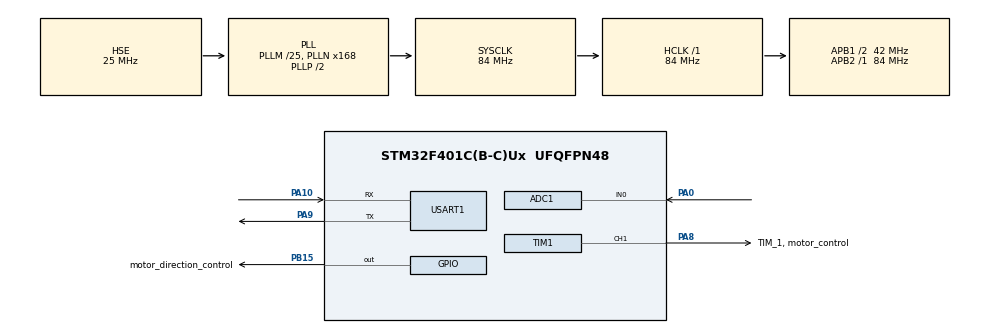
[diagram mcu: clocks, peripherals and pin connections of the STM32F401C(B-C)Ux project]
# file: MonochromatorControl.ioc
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ADC1.Channel-0\#ChannelRegularConversion=ADC_CHANNEL_0
ADC1.ExternalTrigConv=ADC_EXTERNALTRIGCONV_T3_TRGO
ADC1.NbrOfConversionFlag=1
ADC1.Rank-0\#ChannelRegularConversion=1
ADC1.SamplingTime-0\#ChannelRegularConversion=ADC_SAMPLETIME_3CYCLES
ADC1.master=1
Mcu.Family=STM32F4
Mcu.Name=STM32F401C(B-C)Ux
Mcu.Package=UFQFPN48
NVIC.ADC_IRQn=true\:0\:0\:false\:false\:true\:true\:true\:true
NVIC.PriorityGroup=NVIC_PRIORITYGROUP_4
NVIC.TIM1_UP_TIM10_IRQn=true\:0\:0\:false\:false\:true\:true\:true\:true
NVIC.USART1_IRQn=true\:0\:0\:false\:false\:true\:true\:true\:true
PA0-WKUP.Signal=ADCx_IN0
PA10.Mode=Asynchronous
PA10.Signal=USART1_RX
PA13.Mode=Serial_Wire
PA13.Signal=SYS_JTMS-SWDIO
PA14.Mode=Serial_Wire
PA14.Signal=SYS_JTCK-SWCLK
PA8.GPIO_Label=TIM_1, motor_control
PA8.Signal=S_TIM1_CH1
PA9.Mode=Asynchronous
PA9.Signal=USART1_TX
PB15.GPIO_Label=motor_direction_control
PB15.Signal=GPIO_Output
PH0\ -\ OSC_IN.Mode=HSE-External-Oscillator
PH0\ -\ OSC_IN.Signal=RCC_OSC_IN
PH1\ -\ OSC_OUT.Mode=HSE-External-Oscillator
PH1\ -\ OSC_OUT.Signal=RCC_OSC_OUT
ProjectManager.HeapSize=0x200
ProjectManager.StackSize=0x400
ProjectManager.TargetToolchain=STM32CubeIDE
RCC.48MHZClocksFreq_Value=42000000
RCC.AHBFreq_Value=84000000
RCC.APB1CLKDivider=RCC_HCLK_DIV2
RCC.APB1Freq_Value=42000000
RCC.APB1TimFreq_Value=84000000
RCC.APB2Freq_Value=84000000
RCC.APB2TimFreq_Value=84000000
RCC.CortexFreq_Value=84000000
RCC.HCLKFreq_Value=84000000
RCC.HSE_VALUE=25000000
RCC.HSI_VALUE=16000000
RCC.LSE_VALUE=32768
RCC.PLLM=25
RCC.PLLN=168
RCC.PLLSourceVirtual=RCC_PLLSOURCE_HSE
RCC.SYSCLKFreq_VALUE=84000000
RCC.SYSCLKSource=RCC_SYSCLKSOURCE_PLLCLK
RCC.VCOOutputFreq_Value=168000000
SH.ADCx_IN0.0=ADC1_IN0,IN0
SH.S_TIM1_CH1.0=TIM1_CH1,PWM Generation1 CH1
TIM1.Channel-PWM\ Generation1\ CH1=TIM_CHANNEL_1
TIM1.ClockDivision=TIM_CLOCKDIVISION_DIV4
TIM1.Period=199
TIM1.Prescaler=2624
TIM3.ClockDivision=TIM_CLOCKDIVISION_DIV4
TIM3.Period=199
TIM3.Prescaler=524
TIM3.TIM_MasterOutputTrigger=TIM_TRGO_UPDATE
USART1.VirtualMode=VM_ASYNC
VP_RTC_VS_RTC_Activate.Mode=RTC_Enabled
VP_TIM1_VS_OPM.Mode=OPM_bit
VP_TIM3_VS_ClockSourceINT.Mode=Internal
board=custom

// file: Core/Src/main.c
/* USER CODE BEGIN Header */
/**
  ******************************************************************************
  * @file           : main.c
  * @brief          : Main program body
  ******************************************************************************
  * @attention
  *
  * Copyright (c) 2023 STMicroelectronics.
  * All rights reserved.
  *
  * This software is licensed under terms that can be found in the LICENSE file
  * in the root directory of this software component.
  * If no LICENSE file comes with this software, it is provided AS-IS.
  *
  ******************************************************************************
  */
/* USER CODE END Header */
#include "main.h"

/* USER CODE BEGIN Includes */
#include "stdbool.h"
#include "checksum.h"
#include "command_handler.h"
/* USER CODE END Includes */

/* USER CODE BEGIN PTD */
typedef struct {
	uint8_t Adress;
	uint8_t Name;
	uint32_t val;
	uint16_t crc;
}	uart_command_T;

typedef struct __attribute__((__packed__)){
	uint8_t Adress;
	uint8_t Name;
	uint32_t val;
	uint16_t crc;
} uart_transmit_T;

/* USER CODE END PTD */

/* USER CODE BEGIN PD */
#define UART_SIZE 8
#define ADRESS 0
#define MaxNumberofSteps 7000
#define Maxspeed 1
#define UART_TRANSMIT_SIZE 8
#define VAL 'v'
#define OK 'k'
/* USER CODE END PD */

ADC_HandleTypeDef hadc1;

RTC_HandleTypeDef hrtc;

TIM_HandleTypeDef htim1;
TIM_HandleTypeDef htim3;

UART_HandleTypeDef huart1;

/* USER CODE BEGIN PV */
int temp_out = 8;
int temp_step = 1;
uint8_t ADCval_pos = 0;
bool uart_trans = false;
uint8_t uart_command[UART_SIZE];
uint8_t uart_transmit[7];
uint16_t ADCtempval[5];
extern uint32_t T_ADC;
extern uint32_t Motor_step_counter;
extern uint16_t ADC_step_counter;
extern uint16_t ADC_per_steps;
uint8_t ADC_Transmit_flag = 0;
uint8_t is_error = 0;
uint16_t result;

/* USER CODE END PV */

void SystemClock_Config(void);
static void MX_GPIO_Init(void);
static void MX_RTC_Init(void);
static void MX_USART1_UART_Init(void);
static void MX_ADC1_Init(void);
static void MX_TIM1_Init(void);
static void MX_TIM3_Init(void);

/* USER CODE BEGIN 0 */
void HAL_UART_RxCpltCallback(UART_HandleTypeDef *huart) // base function
{
	uart_command_T*uartcmd = (uart_command_T*)uart_command; // CRC computing
	uint16_t calccrc;

	calccrc = crc_modbus(uart_command, sizeof(uart_command)-2);
	if (calccrc != uartcmd->crc)
	{
		return;
	}

	switch(uartcmd->Name)
	{
	case 'n': // start position
		is_error = set_start_position(uartcmd->val);

		break;
	case 'g': // go to value
		is_error = go_to_point(uartcmd->val);
		break;
	case 'd': // destination
		is_error = set_destinanion_point(uartcmd->val);
		break;
	case 's': // set speed
		is_error = set_speed(uartcmd->val);
		break;
	case 'a': // ADC counter
		is_error = set_measuring_interval(uartcmd->val);
		break;
	case 't': // start
		motor_start();
		break;
	case 'p': // stop
		motor_stop();
		break;
	}
	transmit_pack(is_error, ADRESS, OK);
	HAL_UART_Transmit(&huart1, uart_transmit, sizeof(uart_transmit), 50);
	HAL_UART_Receive_IT(&huart1, uart_command, UART_SIZE);
}

void HAL_ADC_ConvCpltCallback(ADC_HandleTypeDef* hadc)
{
	uint16_t ADCval;
	if (ADCval_pos < 6)
	{
		ADCval = HAL_ADC_GetValue(hadc);
		ADCtempval[ADCval_pos] = ADCval;
		ADCval_pos++;
	}
	else
	{
		ADC_Transmit_flag = 1;
		ADCval_pos = 0;
	}
}

void HAL_TIM_PWM_PulseFinishedCallback (TIM_HandleTypeDef * htim)
{
	if(htim == &htim1)
	{
		if (ADC_step_counter != ADC_per_steps)
		{
			ADC_step_counter++;
		}
		else
		{
			HAL_TIM_Base_Start(&htim3);
			ADC_step_counter = 0;
		}

		if (Motor_step_counter != 0)
		{
			Motor_step_counter--;
		}
		else
		{
			HAL_TIM_OC_Stop(&htim1, TIM_CHANNEL_1);
		}
	}
}

void transmit_pack(uint32_t val_in, uint8_t adres_in, uint8_t nm)
{
	uint16_t calccrc_res;
	uart_transmit_T*uarttrans = (uart_transmit_T*)uart_transmit;
	uarttrans->Adress = adres_in;
	uarttrans->val = val_in;
	uarttrans->Name = nm; // "v" for value, "k" for command acsepted
	calccrc_res = crc_modbus(uart_transmit, sizeof(uart_transmit)-2);
	uarttrans->crc = calccrc_res;
}

/* USER CODE END 0 */

int main(void)
{

  /* MCU Configuration--------------------------------------------------------*/

  /* Reset of all peripherals, Initializes the Flash interface and the Systick. */
  HAL_Init();

  /* Configure the system clock */
  SystemClock_Config();

  /* Initialize all configured peripherals */
  MX_GPIO_Init();
  MX_RTC_Init();
  MX_USART1_UART_Init();
  MX_ADC1_Init();
  MX_TIM1_Init();
  MX_TIM3_Init();
  /* USER CODE BEGIN 2 */
  HAL_ADC_Start_IT(&hadc1);
  HAL_TIM_PWM_Start(&htim1, TIM_CHANNEL_1);
  HAL_TIM_Base_Start(&htim3);
  HAL_UART_Receive_IT(&huart1, uart_command, UART_SIZE);
  /* USER CODE END 2 */

  /* Infinite loop */
  while (1)
  {

    /* USER CODE BEGIN 3 */

	  if(ADC_Transmit_flag == 1)
	  {
		  for (uint8_t i = 0; i < 5; i++)
		  {
			  result += ADCtempval[i];
		  }
		  result = result/5;
		  transmit_pack(result, ADRESS, VAL);
		  HAL_UART_Transmit(&huart1, uart_transmit, sizeof(uart_transmit), 50);
		  ADC_Transmit_flag = 0;
	  }
  }
  /* USER CODE END 3 */
}

void SystemClock_Config(void)
{
  RCC_OscInitTypeDef RCC_OscInitStruct = {0};
  RCC_ClkInitTypeDef RCC_ClkInitStruct = {0};

  /** Configure the main internal regulator output voltage
  */
  __HAL_RCC_PWR_CLK_ENABLE();
  __HAL_PWR_VOLTAGESCALING_CONFIG(PWR_REGULATOR_VOLTAGE_SCALE2);

  /** Initializes the RCC Oscillators according to the specified parameters
  * in the RCC_OscInitTypeDef structure.
  */
  RCC_OscInitStruct.OscillatorType = RCC_OSCILLATORTYPE_LSI|RCC_OSCILLATORTYPE_HSE;
  RCC_OscInitStruct.HSEState = RCC_HSE_ON;
  RCC_OscInitStruct.LSIState = RCC_LSI_ON;
  RCC_OscInitStruct.PLL.PLLState = RCC_PLL_ON;
  RCC_OscInitStruct.PLL.PLLSource = RCC_PLLSOURCE_HSE;
  RCC_OscInitStruct.PLL.PLLM = 25;
  RCC_OscInitStruct.PLL.PLLN = 168;
  RCC_OscInitStruct.PLL.PLLP = RCC_PLLP_DIV2;
  RCC_OscInitStruct.PLL.PLLQ = 4;
  if (HAL_RCC_OscConfig(&RCC_OscInitStruct) != HAL_OK)
  {
    Error_Handler();
  }

  /** Initializes the CPU, AHB and APB buses clocks
  */
  RCC_ClkInitStruct.ClockType = RCC_CLOCKTYPE_HCLK|RCC_CLOCKTYPE_SYSCLK
                              |RCC_CLOCKTYPE_PCLK1|RCC_CLOCKTYPE_PCLK2;
  RCC_ClkInitStruct.SYSCLKSource = RCC_SYSCLKSOURCE_PLLCLK;
  RCC_ClkInitStruct.AHBCLKDivider = RCC_SYSCLK_DIV1;
  RCC_ClkInitStruct.APB1CLKDivider = RCC_HCLK_DIV2;
  RCC_ClkInitStruct.APB2CLKDivider = RCC_HCLK_DIV1;

  if (HAL_RCC_ClockConfig(&RCC_ClkInitStruct, FLASH_LATENCY_2) != HAL_OK)
  {
    Error_Handler();
  }
}

static void MX_ADC1_Init(void)
{

  ADC_ChannelConfTypeDef sConfig = {0};

  /** Configure the global features of the ADC (Clock, Resolution, Data Alignment and number of conversion)
  */
  hadc1.Instance = ADC1;
  hadc1.Init.ClockPrescaler = ADC_CLOCK_SYNC_PCLK_DIV4;
  hadc1.Init.Resolution = ADC_RESOLUTION_12B;
  hadc1.Init.ScanConvMode = DISABLE;
  hadc1.Init.ContinuousConvMode = DISABLE;
  hadc1.Init.DiscontinuousConvMode = DISABLE;
  hadc1.Init.ExternalTrigConvEdge = ADC_EXTERNALTRIGCONVEDGE_RISING;
  hadc1.Init.ExternalTrigConv = ADC_EXTERNALTRIGCONV_T3_TRGO;
  hadc1.Init.DataAlign = ADC_DATAALIGN_RIGHT;
  hadc1.Init.NbrOfConversion = 1;
  hadc1.Init.DMAContinuousRequests = DISABLE;
  hadc1.Init.EOCSelection = ADC_EOC_SINGLE_CONV;
  if (HAL_ADC_Init(&hadc1) != HAL_OK)
  {
    Error_Handler();
  }

  /** Configure for the selected ADC regular channel its corresponding rank in the sequencer and its sample time.
  */
  sConfig.Channel = ADC_CHANNEL_0;
  sConfig.Rank = 1;
  sConfig.SamplingTime = ADC_SAMPLETIME_3CYCLES;
  if (HAL_ADC_ConfigChannel(&hadc1, &sConfig) != HAL_OK)
  {
    Error_Handler();
  }

}

static void MX_RTC_Init(void)
{

  /** Initialize RTC Only
  */
  hrtc.Instance = RTC;
  hrtc.Init.HourFormat = RTC_HOURFORMAT_24;
  hrtc.Init.AsynchPrediv = 127;
  hrtc.Init.SynchPrediv = 255;
  hrtc.Init.OutPut = RTC_OUTPUT_DISABLE;
  hrtc.Init.OutPutPolarity = RTC_OUTPUT_POLARITY_HIGH;
  hrtc.Init.OutPutType = RTC_OUTPUT_TYPE_OPENDRAIN;
  if (HAL_RTC_Init(&hrtc) != HAL_OK)
  {
    Error_Handler();
  }

}

static void MX_TIM1_Init(void)
{

  TIM_MasterConfigTypeDef sMasterConfig = {0};
  TIM_OC_InitTypeDef sConfigOC = {0};
  TIM_BreakDeadTimeConfigTypeDef sBreakDeadTimeConfig = {0};

  htim1.Instance = TIM1;
  htim1.Init.Prescaler = 2624;
  htim1.Init.CounterMode = TIM_COUNTERMODE_UP;
  htim1.Init.Period = 199;
  htim1.Init.ClockDivision = TIM_CLOCKDIVISION_DIV4;
  htim1.Init.RepetitionCounter = 0;
  htim1.Init.AutoReloadPreload = TIM_AUTORELOAD_PRELOAD_DISABLE;
  if (HAL_TIM_PWM_Init(&htim1) != HAL_OK)
  {
    Error_Handler();
  }
  if (HAL_TIM_OnePulse_Init(&htim1, TIM_OPMODE_SINGLE) != HAL_OK)
  {
    Error_Handler();
  }
  sMasterConfig.MasterOutputTrigger = TIM_TRGO_RESET;
  sMasterConfig.MasterSlaveMode = TIM_MASTERSLAVEMODE_DISABLE;
  if (HAL_TIMEx_MasterConfigSynchronization(&htim1, &sMasterConfig) != HAL_OK)
  {
    Error_Handler();
  }
  sConfigOC.OCMode = TIM_OCMODE_PWM1;
  sConfigOC.Pulse = 0;
  sConfigOC.OCPolarity = TIM_OCPOLARITY_HIGH;
  sConfigOC.OCNPolarity = TIM_OCNPOLARITY_HIGH;
  sConfigOC.OCFastMode = TIM_OCFAST_DISABLE;
  sConfigOC.OCIdleState = TIM_OCIDLESTATE_RESET;
  sConfigOC.OCNIdleState = TIM_OCNIDLESTATE_RESET;
  if (HAL_TIM_PWM_ConfigChannel(&htim1, &sConfigOC, TIM_CHANNEL_1) != HAL_OK)
  {
    Error_Handler();
  }
  sBreakDeadTimeConfig.OffStateRunMode = TIM_OSSR_DISABLE;
  sBreakDeadTimeConfig.OffStateIDLEMode = TIM_OSSI_DISABLE;
  sBreakDeadTimeConfig.LockLevel = TIM_LOCKLEVEL_OFF;
  sBreakDeadTimeConfig.DeadTime = 0;
  sBreakDeadTimeConfig.BreakState = TIM_BREAK_DISABLE;
  sBreakDeadTimeConfig.BreakPolarity = TIM_BREAKPOLARITY_HIGH;
  sBreakDeadTimeConfig.AutomaticOutput = TIM_AUTOMATICOUTPUT_DISABLE;
  if (HAL_TIMEx_ConfigBreakDeadTime(&htim1, &sBreakDeadTimeConfig) != HAL_OK)
  {
    Error_Handler();
  }
  HAL_TIM_MspPostInit(&htim1);

}

static void MX_TIM3_Init(void)
{

  TIM_ClockConfigTypeDef sClockSourceConfig = {0};
  TIM_MasterConfigTypeDef sMasterConfig = {0};

  htim3.Instance = TIM3;
  htim3.Init.Prescaler = 524;
  htim3.Init.CounterMode = TIM_COUNTERMODE_UP;
  htim3.Init.Period = 199;
  htim3.Init.ClockDivision = TIM_CLOCKDIVISION_DIV4;
  htim3.Init.AutoReloadPreload = TIM_AUTORELOAD_PRELOAD_DISABLE;
  if (HAL_TIM_Base_Init(&htim3) != HAL_OK)
  {
    Error_Handler();
  }
  sClockSourceConfig.ClockSource = TIM_CLOCKSOURCE_INTERNAL;
  if (HAL_TIM_ConfigClockSource(&htim3, &sClockSourceConfig) != HAL_OK)
  {
    Error_Handler();
  }
  sMasterConfig.MasterOutputTrigger = TIM_TRGO_UPDATE;
  sMasterConfig.MasterSlaveMode = TIM_MASTERSLAVEMODE_DISABLE;
  if (HAL_TIMEx_MasterConfigSynchronization(&htim3, &sMasterConfig) != HAL_OK)
  {
    Error_Handler();
  }

}

static void MX_USART1_UART_Init(void)
{

  huart1.Instance = USART1;
  huart1.Init.BaudRate = 115200;
  huart1.Init.WordLength = UART_WORDLENGTH_8B;
  huart1.Init.StopBits = UART_STOPBITS_1;
  huart1.Init.Parity = UART_PARITY_NONE;
  huart1.Init.Mode = UART_MODE_TX_RX;
  huart1.Init.HwFlowCtl = UART_HWCONTROL_NONE;
  huart1.Init.OverSampling = UART_OVERSAMPLING_16;
  if (HAL_UART_Init(&huart1) != HAL_OK)
  {
    Error_Handler();
  }

}

static void MX_GPIO_Init(void)
{
  GPIO_InitTypeDef GPIO_InitStruct = {0};

  /* GPIO Ports Clock Enable */
  __HAL_RCC_GPIOH_CLK_ENABLE();
  __HAL_RCC_GPIOA_CLK_ENABLE();
  __HAL_RCC_GPIOB_CLK_ENABLE();

  /*Configure GPIO pin Output Level */
  HAL_GPIO_WritePin(motor_direction_control_GPIO_Port, motor_direction_control_Pin, GPIO_PIN_RESET);

  /*Configure GPIO pin : motor_direction_control_Pin */
  GPIO_InitStruct.Pin = motor_direction_control_Pin;
  GPIO_InitStruct.Mode = GPIO_MODE_OUTPUT_PP;
  GPIO_InitStruct.Pull = GPIO_NOPULL;
  GPIO_InitStruct.Speed = GPIO_SPEED_FREQ_LOW;
  HAL_GPIO_Init(motor_direction_control_GPIO_Port, &GPIO_InitStruct);

}

void Error_Handler(void)
{
  __disable_irq();
  while (1)
  {
  }
}
